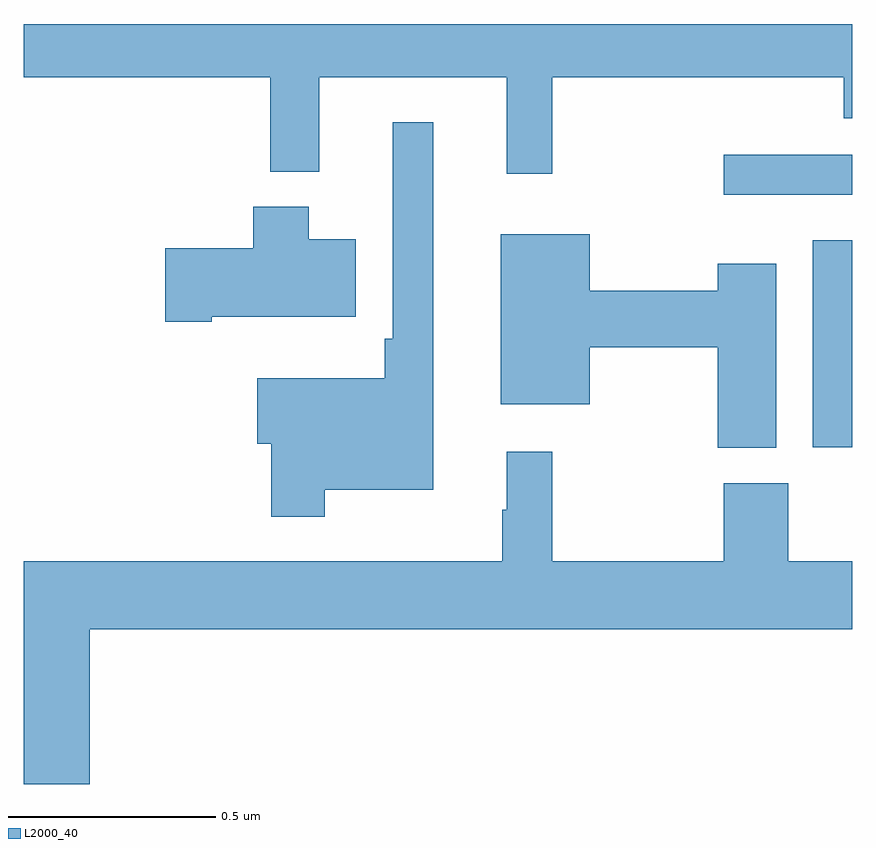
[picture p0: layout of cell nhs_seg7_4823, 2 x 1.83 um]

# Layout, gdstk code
import gdstk
lib = gdstk.Library(unit=1e-6, precision=1e-09)
def R(c, l, rs):  # rectangles x0, y0, x1, y1
    for r in rs: c.add(gdstk.rectangle(r[:2], r[2:], *l))
def P(c, l, *ps):  # polygons
    for p in ps: c.add(gdstk.Polygon(p, *l))
L2000_40 = (2000, 40)

nhs_seg7_4823 = lib.new_cell('nhs_seg7_4823')
R(nhs_seg7_4823, L2000_40, [(178.904,1076.979,179,1077.478), (178.689,1077.588,179,1077.684)])
P(nhs_seg7_4823, L2000_40, [(178.276,1077.872),(178.979,1077.872),(178.979,1077.773),(179,1077.773),(179,1078),(177,1078),(177,1077.872),(177.595,1077.872),(177.595,1077.644),(177.713,1077.644),(177.713,1077.872),(178.166,1077.872),(178.166,1077.639),(178.276,1077.639)],
  [(177.727,1076.876),(177.988,1076.876),(177.988,1077.763),(177.891,1077.763),(177.891,1077.241),(177.871,1077.241),(177.871,1077.145),(177.564,1077.145),(177.564,1076.987),(177.598,1076.987),(177.598,1076.811),(177.727,1076.811)],
  [(177.454,1077.293),(177.802,1077.293),(177.802,1077.481),(177.688,1077.481),(177.688,1077.559),(177.554,1077.559),(177.554,1077.459),(177.342,1077.459),(177.342,1077.281),(177.454,1077.281)],
  [(178.816,1077.421),(178.675,1077.421),(178.675,1077.356),(178.366,1077.356),(178.366,1077.493),(178.151,1077.493),(178.151,1077.083),(178.366,1077.083),(178.366,1077.22),(178.675,1077.22),(178.675,1076.977),(178.816,1076.977)],
  [(177.16,1076.54),(179,1076.54),(179,1076.704),(178.845,1076.704),(178.845,1076.892),(178.69,1076.892),(178.69,1076.704),(178.276,1076.704),(178.276,1076.968),(178.166,1076.968),(178.166,1076.828),(178.155,1076.828),(178.155,1076.704),(177,1076.704),(177,1076.166),(177.16,1076.166)])

lib.write_gds('nhs_seg7_4823.gds')
